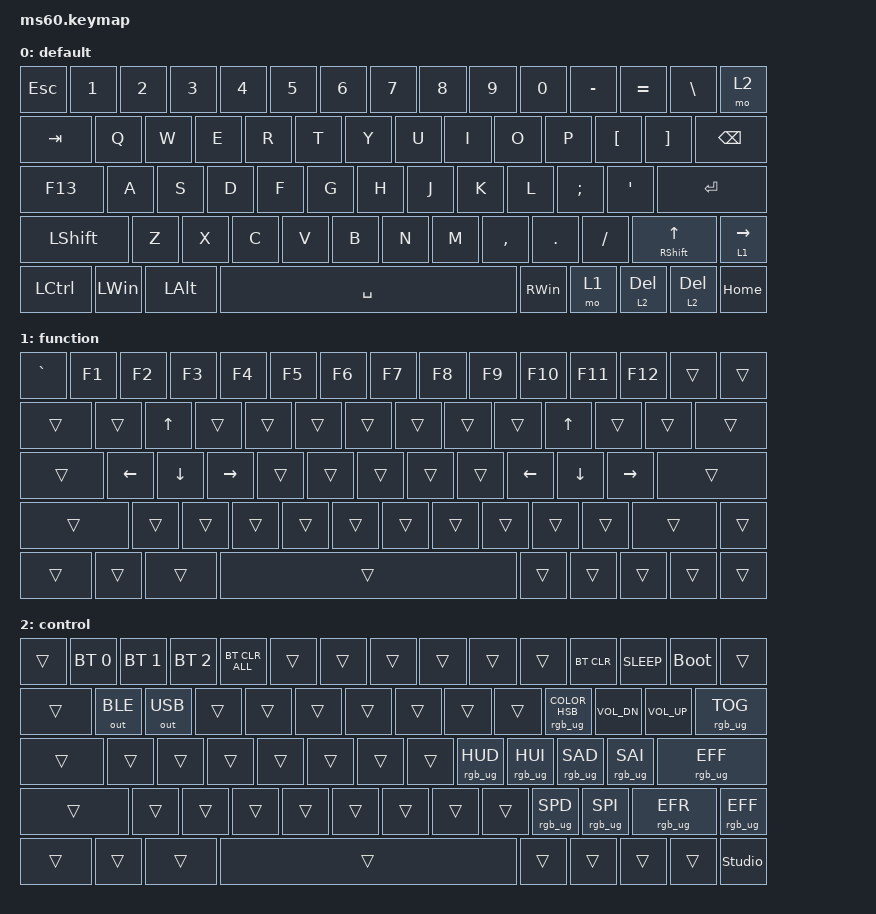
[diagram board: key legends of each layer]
#include <behaviors.dtsi>
#include <dt-bindings/zmk/bt.h>
#include <dt-bindings/zmk/ext_power.h>
#include <dt-bindings/zmk/keys.h>
#include <dt-bindings/zmk/outputs.h>
#include <dt-bindings/zmk/rgb.h>

&lt {
    quick-tap-ms = <225>;
    tapping-term-ms = <225>;
};

&mt {
    quick-tap-ms = <225>;
    tapping-term-ms = <225>;
};

/ {
    combos {
        compatible = "zmk,combos";

        Print {
            bindings = <&kp PRINTSCREEN>;
            key-positions = <13 14>;
        };

        F111 {
            bindings = <&kp F1>;
            key-positions = <0 1>;
        };

        PTT {
            bindings = <&kp F13>;
            key-positions = <29 30>;
        };

        home {
            bindings = <&kp HOME>;
            key-positions = <53 54>;
        };
    };

    keymap {
        compatible = "zmk,keymap";

        default {
            // -------------------------------------------------------------------------------------------
            // | ESC |  1  |  2  |  3  |  4  |  5  |  6  |  7  |  8  |  9  |  0  |  -  |  =  |  \ | MO(2)|
            // | TAB  |  Q  |  W  |  E  |  R  |  T  |  Y  |  U  |  I  |  O  |  P  |  [  |  ]  |   BKSP   |
            // | CAPS  |  A  |  S  |  D  |  F  |  G  |  H  |  J  |  K  |  L  |  ;  |  '  |     ENTER     |
            // |  SHIFT  |  Z  |  X  |  C  |  V  |  B  |  N  |  M  |  ,  |  .  |   SHFT   |  UP  |   /   |
            // |  CTL  |  WIN  |  ALT  |           SPACE             | FN(1) | WIN | LEFT | DOWN | RIGHT |
            // -------------------------------------------------------------------------------------------

            bindings = <
&kp ESC    &kp N1        &kp N2        &kp N3  &kp N4  &kp N5     &kp N6         &kp N7  &kp N8     &kp N9        &kp N0     &kp MINUS                 &kp EQUAL    &kp BSLH  &mo 2
&kp TAB    &kp Q         &kp W         &kp E   &kp R   &kp T      &kp Y          &kp U   &kp I      &kp O         &kp P      &kp LBKT                  &kp RBKT     &kp BACKSPACE
&kp F13    &kp A         &kp S         &kp D   &kp F   &kp G      &kp H          &kp J   &kp K      &kp L         &kp SEMI   &kp SQT                                &kp RET
&kp LSHFT  &kp Z         &kp X         &kp C   &kp V   &kp B      &kp N          &kp M   &kp COMMA  &kp DOT       &kp SLASH  &mt RIGHT_SHIFT UP_ARROW  &lt 1 RIGHT
&kp LCTRL  &kp LEFT_WIN  &kp LEFT_ALT                  &kp SPACE  &kp RIGHT_WIN  &mo 1   &lt 2 DEL  &lt 2 DELETE  &kp HOME
            >;
        };

        function {
            bindings = <
&kp GRAVE  &kp F1    &kp F2    &kp F3     &kp F4  &kp F5  &kp F6  &kp F7  &kp F8  &kp F9          &kp F10         &kp F11    &kp F12  &trans  &trans
&trans     &trans    &kp UP    &trans     &trans  &trans  &trans  &trans  &trans  &trans          &kp UP_ARROW    &trans     &trans   &trans
&trans     &kp LEFT  &kp DOWN  &kp RIGHT  &trans  &trans  &trans  &trans  &trans  &kp LEFT_ARROW  &kp DOWN_ARROW  &kp RIGHT           &trans
&trans     &trans    &trans    &trans     &trans  &trans  &trans  &trans  &trans  &trans          &trans          &trans     &trans
&trans     &trans    &trans                       &trans  &trans  &trans  &trans  &trans          &trans
            >;
        };

        control {
            // ------------------------------------------------------------------------------------------------
            // |      | BT 1 | BT 2 | BT 3 |CLR ALL|     |     |     |     |     |     | BT CLR | SLEEP | BOOT |      |
            // |      |  BLE |  USB |      |       |     |     |     |     |     | RGB | VOL DN | VOL UP|  TOG |
            // |      |      |      |      |       |     |     |     |HUE DN|HUE UP|SAT DN| SAT UP |     EFFECT     |
            // |      |      |      |      |       |     |     |     |     |SPD DN|SPD UP|EFF REV |    EFF FWD     |
            // |      |      |      |                             |     |     |      |        |      | STUDIO|
            // ------------------------------------------------------------------------------------------------

            bindings = <
&trans  &bt BT_SEL 0  &bt BT_SEL 1  &bt BT_SEL 2  &bt BT_CLR_ALL  &trans  &trans  &trans  &trans           &trans           &trans                            &bt BT_CLR       &kp K_SLEEP      &bootloader      &trans
&trans  &out OUT_BLE  &out OUT_USB  &trans        &trans          &trans  &trans  &trans  &trans           &trans           &rgb_ug RGB_COLOR_HSB(234,84,96)  &kp C_VOL_DN     &kp C_VOL_UP     &rgb_ug RGB_TOG
&trans  &trans        &trans        &trans        &trans          &trans  &trans  &trans  &rgb_ug RGB_HUD  &rgb_ug RGB_HUI  &rgb_ug RGB_SAD                   &rgb_ug RGB_SAI                   &rgb_ug RGB_EFF
&trans  &trans        &trans        &trans        &trans          &trans  &trans  &trans  &trans           &rgb_ug RGB_SPD  &rgb_ug RGB_SPI                   &rgb_ug RGB_EFR  &rgb_ug RGB_EFF
&trans  &trans        &trans                                      &trans  &trans  &trans  &trans           &trans           &studio_unlock
            >;
        };
    };
};
